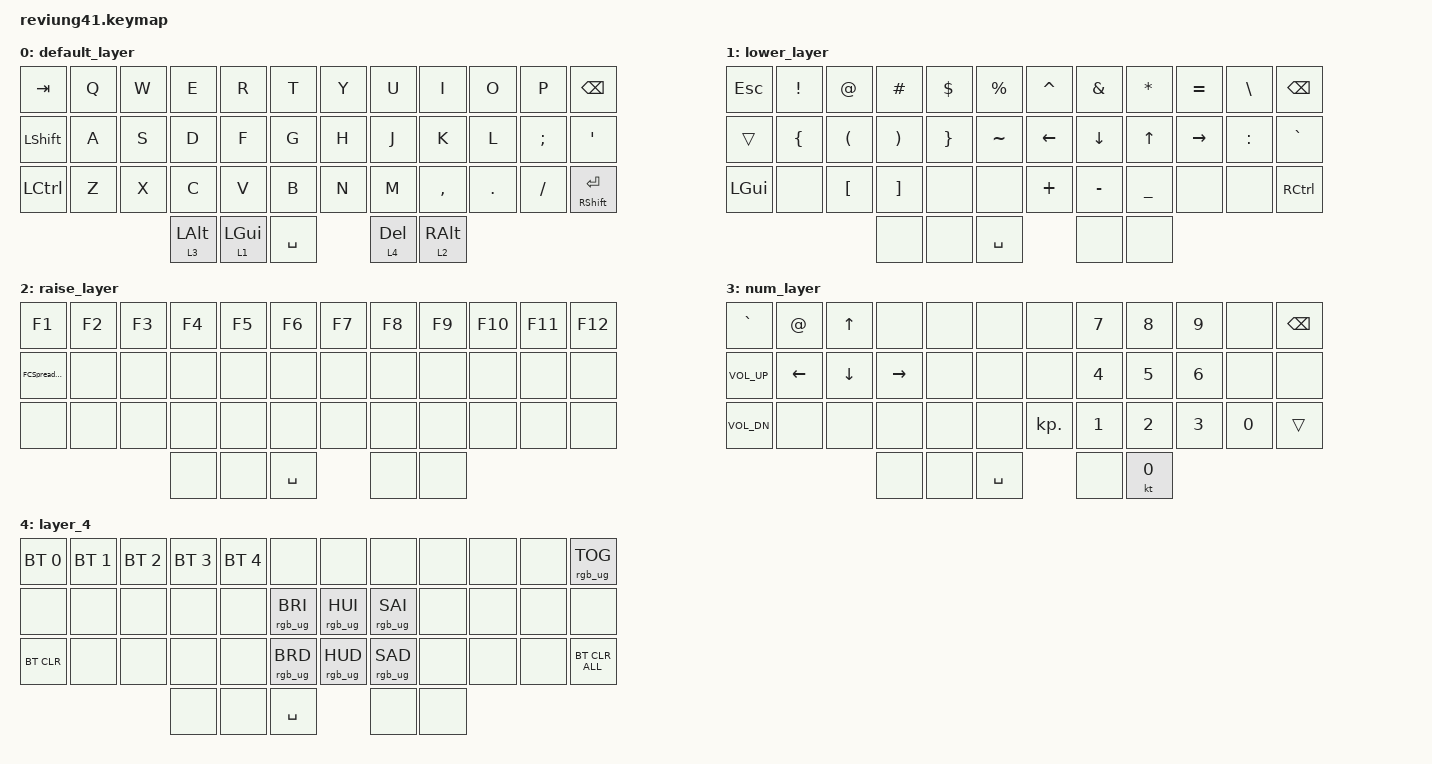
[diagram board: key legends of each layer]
/*
 * Copyright (c) 2020 The ZMK Contributors
 *
 * SPDX-License-Identifier: MIT
 */

#include <behaviors.dtsi>
#include <dt-bindings/zmk/bt.h>
#include <dt-bindings/zmk/keys.h>
#include <dt-bindings/zmk/rgb.h>

/ {
    combos {
        compatible = "zmk,combos";

        combo_caps {
            timeout-ms = <50>;
            key-positions = <37 39>;
            bindings = <&kp CAPS>;
        };
    };
};

&led_strip { chain-length = <11>; };

/ {
    macros {
        FCSpreadsheetRef: FCSpreadsheetRef {
            compatible = "zmk,behavior-macro";
            #binding-cells = <0>;
            bindings =
                <&macro_tap>,
                <&kp LT &kp LT &kp LS(S) &kp P &kp R &kp E &kp A &kp D &kp S &kp H &kp E &kp E &kp T &kp GT &kp GT &kp DOT>;

            label = "FCSPREADSHEETREF";
        };
    };

    keymap {
        compatible = "zmk,keymap";

        default_layer {
            //
            // ------------------------------------------------------------------------------------
            // |  TAB |  Q  |  W  |  E  |  R  |  T  |||||  Y  |  U  |  I  |  O  |  P  |   BKSP    |
            // | CTRL |  A  |  S  |  D  |  F  |  G  |||||  H  |  J  |  K  |  L  |  ;  |    ''     |
            // | SHFT |  Z  |  X  |  C  |  V  |  B  |||||  N  |  M  |  ,  |  .  |  /  | SHFT(RET) |
            //                         | NUM | GUI | SPC | LWR | RSE |
            //

            bindings = <
&kp TAB         &kp Q  &kp W  &kp E           &kp R           &kp T             &kp Y  &kp U      &kp I            &kp O    &kp P     &kp BSPC
&kp LEFT_SHIFT  &kp A  &kp S  &kp D           &kp F           &kp G             &kp H  &kp J      &kp K            &kp L    &kp SEMI  &kp SQT
&kp LCTRL       &kp Z  &kp X  &kp C           &kp V           &kp B             &kp N  &kp M      &kp COMMA        &kp DOT  &kp FSLH  &mt RSHFT RET
                              &lt 3 LEFT_ALT  &lt 1 LEFT_GUI         &kp SPACE         &lt 4 DEL  &lt 2 RIGHT_ALT
            >;
        };

        lower_layer {
            //
            // -------------------------------------------------------------------------------
            // | ESC  |  !  |  @  |  #  |  $  |  %  ||||||  ^  |  &  |  *  |  =  |  \  | DEL |
            // | CTRL |  {  |  (  |  )  |  }  |  ~  ||||||  ←  |  ↓  |  ↑  |  →  |  :  |  `  |
            // | SHFT |     |  [  |  ]  |     |     ||||||  +  |  -  |  _  |     |     |     |
            //                        |     | GUI | trans | trans |     |
            //

            bindings = <
&kp ESC       &kp EXCL  &kp AT    &kp HASH  &kp DLLR  &kp PRCNT             &kp CARET  &kp AMPS   &kp ASTRK  &kp EQUAL  &kp BSLH   &kp BSPC
&trans        &kp LBRC  &kp LPAR  &kp RPAR  &kp RBRC  &kp TILDE             &kp LEFT   &kp DOWN   &kp UP     &kp RIGHT  &kp COLON  &kp GRAVE
&kp LEFT_GUI  &none     &kp LBKT  &kp RBKT  &none     &none                 &kp PLUS   &kp MINUS  &kp UNDER  &none      &none      &kp RCTRL
                                  &none     &none                &kp SPACE             &none      &none
            >;
        };

        raise_layer {
            //
            // -------------------------------------------------------------------------------
            // | LY0 |  1  |  2  |  3  |  4  |  5  |||||  6  |  7  |  8  |  9  |  0  |  DEL  |
            // |     |     |     |     |     |     |||||     |     |     |     |     |       |
            // |BTCLR| BOOT|     |     |     |     |||||     |     |     |     |     |       |
            //                        |     |     |     |     |     |
            //

            bindings = <
&kp F1             &kp F2  &kp F3  &kp F4  &kp F5  &kp F6             &kp F7  &kp F8  &kp F9  &kp F10  &kp F11  &kp F12
&FCSpreadsheetRef  &none   &none   &none   &none   &none              &none   &none   &none   &none    &none    &none
&none              &none   &none   &none   &none   &none              &none   &none   &none   &none    &none    &none
                                   &none   &none           &kp SPACE          &none   &none
            >;
        };

        num_layer {
            //
            // ---------------------------------------------------------------------------------
            // | LY0 |  F1  |     |     |     |     |||||||     |  7  |  8  |  9  |     | BKSP |
            // |     | VOL+ |     |     |     |     |||||||     |  4  |  5  |  6  |     |      |
            // |     | VOL- |     |     |     |     |||||||     |  1  |  2  |  3  |     |      |
            //                         |     |      |       |  0  |  .  |
            //     

            bindings = <
&kp GRAVE     &kp AT_SIGN  &kp UP_ARROW    &none            &none  &none             &none       &kp N7  &kp N8        &kp N9  &none   &kp BACKSPACE
&kp C_VOL_UP  &kp LEFT     &kp DOWN_ARROW  &kp RIGHT_ARROW  &none  &none             &none       &kp N4  &kp N5        &kp N6  &none   &none
&kp C_VOL_DN  &none        &none           &none            &none  &none             &kp KP_DOT  &kp N1  &kp N2        &kp N3  &kp N0  &trans
                                           &none            &none         &kp SPACE              &none   &kt NUMBER_0
            >;
        };

        layer_4 {
            bindings = <
&bt BT_SEL 0  &bt BT_SEL 1  &bt BT_SEL 2  &bt BT_SEL 3  &bt BT_SEL 4  &none                       &none            &none            &none  &none  &none  &rgb_ug RGB_TOG
&none         &none         &none         &none         &none         &rgb_ug RGB_BRI             &rgb_ug RGB_HUI  &rgb_ug RGB_SAI  &none  &none  &none  &none
&bt BT_CLR    &none         &none         &none         &none         &rgb_ug RGB_BRD             &rgb_ug RGB_HUD  &rgb_ug RGB_SAD  &none  &none  &none  &bt BT_CLR_ALL
                                          &none         &none                          &kp SPACE                   &none            &none
            >;
        };
    };
};
